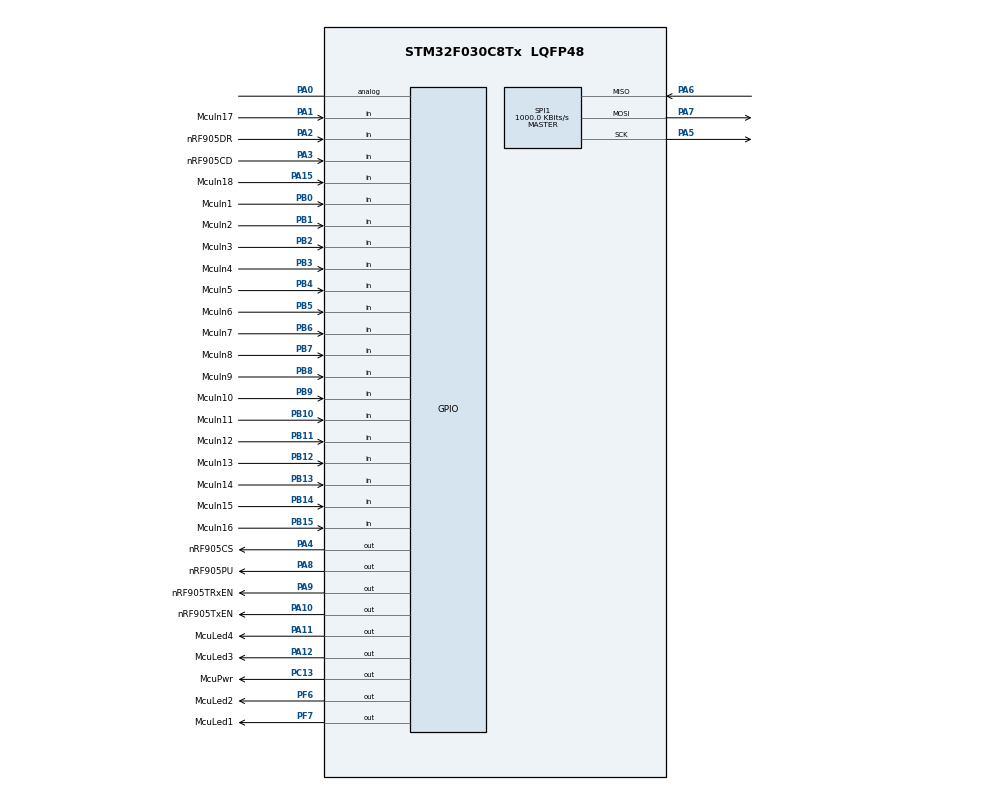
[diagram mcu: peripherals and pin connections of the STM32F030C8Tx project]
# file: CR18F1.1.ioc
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Mcu.Family=STM32F0
Mcu.Name=STM32F030C8Tx
Mcu.Package=LQFP48
NVIC.TIM6_IRQn=true\:0\:0\:false\:false\:true\:true\:true
PA0.Signal=GPIO_Analog
PA1.GPIO_Label=McuIn17
PA1.GPIO_PuPd=GPIO_PULLUP
PA1.Signal=GPIO_Input
PA10.GPIO_Label=nRF905TxEN
PA10.Signal=GPIO_Output
PA11.GPIO_Label=McuLed4
PA11.Signal=GPIO_Output
PA12.GPIO_Label=McuLed3
PA12.Signal=GPIO_Output
PA13.Mode=Serial_Wire
PA13.Signal=SYS_SWDIO
PA14.Mode=Serial_Wire
PA14.Signal=SYS_SWCLK
PA15.GPIO_Label=McuIn18
PA15.GPIO_PuPd=GPIO_PULLUP
PA15.Signal=GPIO_Input
PA2.GPIO_Label=nRF905DR
PA2.GPIO_PuPd=GPIO_NOPULL
PA2.Signal=GPIO_Input
PA3.GPIO_Label=nRF905CD
PA3.Signal=GPIO_Input
PA4.GPIO_Label=nRF905CS
PA4.Signal=GPIO_Output
PA5.Mode=Full_Duplex_Master
PA5.Signal=SPI1_SCK
PA6.Mode=Full_Duplex_Master
PA6.Signal=SPI1_MISO
PA7.Mode=Full_Duplex_Master
PA7.Signal=SPI1_MOSI
PA8.GPIO_Label=nRF905PU
PA8.Signal=GPIO_Output
PA9.GPIO_Label=nRF905TRxEN
PA9.Signal=GPIO_Output
PB0.GPIO_Label=McuIn1
PB0.GPIO_PuPd=GPIO_PULLUP
PB0.Signal=GPIO_Input
PB1.GPIO_Label=McuIn2
PB1.GPIO_PuPd=GPIO_PULLUP
PB1.Signal=GPIO_Input
PB10.GPIO_Label=McuIn11
PB10.GPIO_PuPd=GPIO_PULLUP
PB10.Signal=GPIO_Input
PB11.GPIO_Label=McuIn12
PB11.GPIO_PuPd=GPIO_PULLUP
PB11.Signal=GPIO_Input
PB12.GPIO_Label=McuIn13
PB12.GPIO_PuPd=GPIO_PULLUP
PB12.Signal=GPIO_Input
PB13.GPIO_Label=McuIn14
PB13.GPIO_PuPd=GPIO_PULLUP
PB13.Signal=GPIO_Input
PB14.GPIO_Label=McuIn15
PB14.GPIO_PuPd=GPIO_PULLUP
PB14.Signal=GPIO_Input
PB15.GPIO_Label=McuIn16
PB15.GPIO_PuPd=GPIO_PULLUP
PB15.Signal=GPIO_Input
PB2.GPIO_Label=McuIn3
PB2.GPIO_PuPd=GPIO_PULLUP
PB2.Signal=GPIO_Input
PB3.GPIO_Label=McuIn4
PB3.GPIO_PuPd=GPIO_PULLUP
PB3.Signal=GPIO_Input
PB4.GPIO_Label=McuIn5
PB4.GPIO_PuPd=GPIO_PULLUP
PB4.Signal=GPIO_Input
PB5.GPIO_Label=McuIn6
PB5.GPIO_PuPd=GPIO_PULLUP
PB5.Signal=GPIO_Input
PB6.GPIO_Label=McuIn7
PB6.GPIO_PuPd=GPIO_PULLUP
PB6.Signal=GPIO_Input
PB7.GPIO_Label=McuIn8
PB7.GPIO_PuPd=GPIO_PULLUP
PB7.Signal=GPIO_Input
PB8.GPIO_Label=McuIn9
PB8.GPIO_PuPd=GPIO_PULLUP
PB8.Signal=GPIO_Input
PB9.GPIO_Label=McuIn10
PB9.GPIO_PuPd=GPIO_PULLUP
PB9.Signal=GPIO_Input
PC13.GPIO_Label=McuPwr
PC13.GPIO_PuPd=GPIO_PULLDOWN
PC13.PinState=GPIO_PIN_RESET
PC13.Signal=GPIO_Output
PF6.GPIO_Label=McuLed2
PF6.Signal=GPIO_Output
PF7.GPIO_Label=McuLed1
PF7.Signal=GPIO_Output
ProjectManager.HeapSize=0x200
ProjectManager.StackSize=0x400
ProjectManager.TargetToolchain=STM32CubeIDE
SPI1.BaudRatePrescaler=SPI_BAUDRATEPRESCALER_8
SPI1.CLKPhase=SPI_PHASE_1EDGE
SPI1.CalculateBaudRate=1000.0 KBits/s
SPI1.DataSize=SPI_DATASIZE_8BIT
SPI1.Direction=SPI_DIRECTION_2LINES
SPI1.Mode=SPI_MODE_MASTER
SPI1.NSSPMode=SPI_NSS_PULSE_DISABLE
SPI1.VirtualType=VM_MASTER
TIM6.Period=10
TIM6.Prescaler=8000
VP_TIM6_VS_ClockSourceINT.Mode=Enable_Timer
board=custom

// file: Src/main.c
/* USER CODE BEGIN Header */
/**
 ******************************************************************************
 * @file           : main.c
 * @brief          : Main program body
 ******************************************************************************
 * @attention
 *
 * <h2><center>&copy; Copyright (c) 2019 STMicroelectronics.
 * All rights reserved.</center></h2>
 *
 * This software component is licensed by ST under BSD 3-Clause license,
 * the "License"; You may not use this file except in compliance with the
 * License. You may obtain a copy of the License at:
 *                        opensource.org/licenses/BSD-3-Clause
 *
 ******************************************************************************
 */
/* USER CODE END Header */

#include "main.h"
#include "spi.h"
#include "tim.h"
#include "gpio.h"

/* USER CODE BEGIN Includes */
#include "Inputs.h"
#include "MyTypes.h"
#include "Nrf905.h"
#include "stm32f0xx_hal.h"
#include "MyFlash.h"
#include "RemoteControl.h"
/* USER CODE END Includes */

/* USER CODE BEGIN PV */
__attribute__((__section__(".user_data")))  uint8_t userConfig[64] = { 0x00, 0x00, 0x00, 0x00, 0x00, 0x00, 0x00, 0x00,
		0x00, 0x00, 0x00, 0x00, 0x00, 0x00, 0x00, 0x00, 0x00, 0x00, 0x00, 0x00, 0x00, 0x00, 0x00, 0x00, 0x00, 0x00,
		0x00, 0x00, 0x00, 0x00, 0x00, 0x00, 0x00, 0x00, 0x00, 0x00, 0x00, 0x00, 0x00, 0x00, 0x00, 0x00, 0x00, 0x00,
		0x00, 0x00, 0x00, 0x00, 0x00, 0x00, 0x00, 0x00, 0x00, 0x00, 0x00, 0x00, 0x00, 0x00, 0x00, 0x00, 0x00, 0x00,
		0x00, 0x00 };

/* USER CODE END PV */

void SystemClock_Config(void);

int main(void)
{
	/* USER CODE BEGIN 1 */
	u32t ToSend;
	uint8_t i;
	/* USER CODE END 1 */

	/* MCU Configuration--------------------------------------------------------*/

	/* Reset of all peripherals, Initializes the Flash interface and the Systick. */
	HAL_Init();

	/* Configure the system clock */
	SystemClock_Config();

	/* Initialize all configured peripherals */
	MX_GPIO_Init();
	MX_SPI1_Init();
	MX_TIM6_Init();
	/* USER CODE BEGIN 2 */

	//uint32_t aux = 0;//, Check = 0;
	//uint8_t aux8 = 0xFF;
	//aux = 123456;

//	uint8_t TxBuffer[32] =
//	                { 0x00, 0x01, 0x02, 0x03 };

//	testar se está gravado caso contrario gravar dados seguros;
//	FlashWriteU32(kFlashPageCheckAddress, kCheckValue);
//	Check = FlashReadU32(kFlashPageCheckAddress);
//
//	if (Check > 0)
//	{
//		HAL_Delay(1);
//	}

	nRf905SetConfig();

	nRf905SetTxAddr(0xFFFFFFFF);
	nRf905SetRxAddr(0xFFFFFFFF);

	ToSend.u32v = 0x12345678;
		nRf905SendPacket(ToSend.u8v, 4);
		for(i = 0; i < 50; i++)
		{
			Nrf905SetMode(eTrasmitShockBurstMode);
			HAL_Delay(50);

			Nrf905SetMode(eReceiveShockBurstMode);
			HAL_Delay(50);
			HAL_GPIO_TogglePin(McuLed4_GPIO_Port, McuLed4_Pin);
		}

	if (HAL_TIM_Base_Start_IT(&htim6) != HAL_OK)
	{
		while (1);
	}

	InputsInit();

	Nrf905SetMode(eReceiveShockBurstMode);
	HAL_Delay(50);
	/* USER CODE END 2 */

	/* Infinite loop */
	while (1)
	{

		/* USER CODE BEGIN 3 */

		if (Nrf905GetDr() == 1)
		{
			HAL_GPIO_TogglePin(McuLed1_GPIO_Port, McuLed1_Pin);
		}

		if (Nrf905GetCd() == 1)
		{
			HAL_GPIO_TogglePin(McuLed2_GPIO_Port, McuLed2_Pin);
		}

		//RemoteControlInit();

		//if (InputsGetState(In01))
		if(KeysGetState() ==  kSwProg)
		{
			//HAL_GPIO_WritePin(McuLed1_GPIO_Port, McuLed1_Pin, GPIO_PIN_SET);
		}
		else
		{
			//HAL_GPIO_WritePin(McuLed1_GPIO_Port, McuLed1_Pin, GPIO_PIN_RESET);
		}

		//HAL_GPIO_TogglePin(McuLed3_GPIO_Port, McuLed3_Pin);

		//HAL_Delay(1);
	}
	/* USER CODE END 3 */
}

void SystemClock_Config(void)
{
	RCC_OscInitTypeDef RCC_OscInitStruct = { 0 };
	RCC_ClkInitTypeDef RCC_ClkInitStruct = { 0 };

	/** Initializes the CPU, AHB and APB busses clocks
	 */
	RCC_OscInitStruct.OscillatorType = RCC_OSCILLATORTYPE_HSI;
	RCC_OscInitStruct.HSIState = RCC_HSI_ON;
	RCC_OscInitStruct.HSICalibrationValue = RCC_HSICALIBRATION_DEFAULT;
	RCC_OscInitStruct.PLL.PLLState = RCC_PLL_NONE;
	if (HAL_RCC_OscConfig(&RCC_OscInitStruct) != HAL_OK)
	{
		Error_Handler();
	}
	/** Initializes the CPU, AHB and APB busses clocks
	 */
	RCC_ClkInitStruct.ClockType = RCC_CLOCKTYPE_HCLK | RCC_CLOCKTYPE_SYSCLK | RCC_CLOCKTYPE_PCLK1;
	RCC_ClkInitStruct.SYSCLKSource = RCC_SYSCLKSOURCE_HSI;
	RCC_ClkInitStruct.AHBCLKDivider = RCC_SYSCLK_DIV1;
	RCC_ClkInitStruct.APB1CLKDivider = RCC_HCLK_DIV1;

	if (HAL_RCC_ClockConfig(&RCC_ClkInitStruct, FLASH_LATENCY_0) != HAL_OK)
	{
		Error_Handler();
	}
}

/* USER CODE BEGIN 4 */
/*
 * This interrupt run at 100Hz
 * Inputs capture
 * Power and sleep control
 */
void HAL_TIM_PeriodElapsedCallback(TIM_HandleTypeDef *htim)
{
	uint8_t cnt;
	static int16_t McuPwrCnt;
	if (htim->Instance == TIM6)
	{

		InputsPeriodic();

		for (cnt = 0; cnt <= 10; cnt++)
		{
			if (InputsGetState(cnt))
			{
				McuPwrCnt = 250;
			}
		}

		if (McuPwrCnt > 0)
		{
			McuPwrCnt--;
			HAL_GPIO_WritePin(McuPwr_GPIO_Port, McuPwr_Pin, GPIO_PIN_SET);
			HAL_GPIO_WritePin(McuLed4_GPIO_Port, McuLed4_Pin, GPIO_PIN_SET);
		}
		else
		{
			HAL_GPIO_WritePin(McuPwr_GPIO_Port, McuPwr_Pin, GPIO_PIN_RESET);
			HAL_GPIO_WritePin(McuLed4_GPIO_Port, McuLed4_Pin, GPIO_PIN_RESET);
		}
	}
}
/* USER CODE END 4 */

void Error_Handler(void)
{
}

/************************ (C) COPYRIGHT STMicroelectronics *****END OF FILE****/
